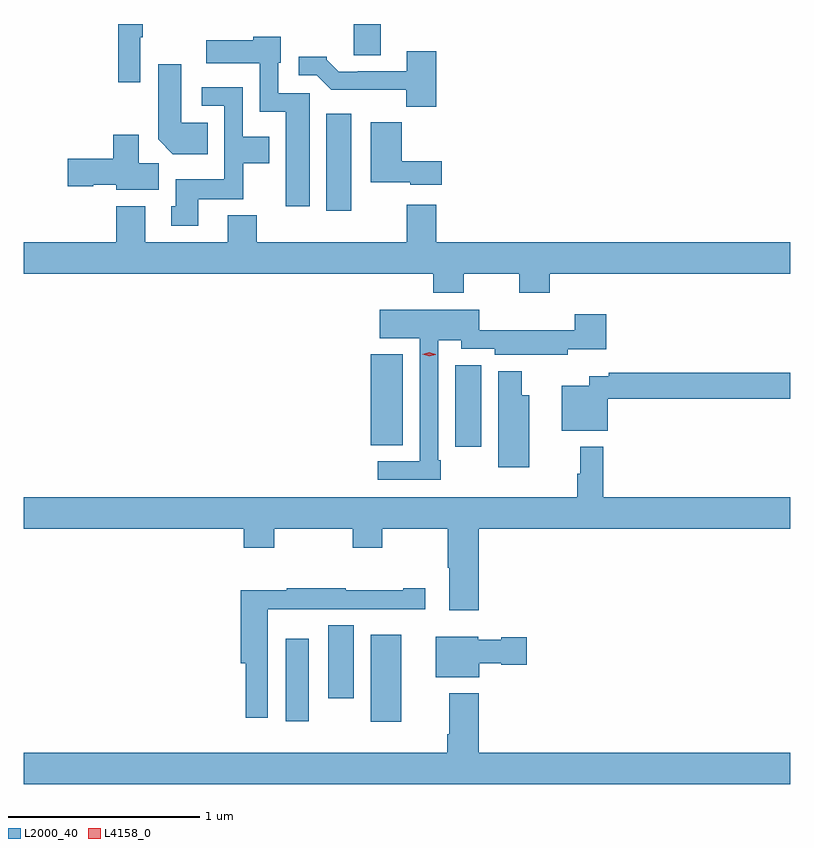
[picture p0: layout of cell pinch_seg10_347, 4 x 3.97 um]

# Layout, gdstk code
import gdstk
lib = gdstk.Library(unit=1e-6, precision=1e-09)
def R(c, l, rs):  # rectangles x0, y0, x1, y1
    for r in rs: c.add(gdstk.rectangle(r[:2], r[2:], *l))
def P(c, l, *ps):  # polygons
    for p in ps: c.add(gdstk.Polygon(p, *l))
L2000_40 = (2000, 40)
L4158_0 = (4158, 0)

pinch_seg10_347 = lib.new_cell('pinch_seg10_347')
R(pinch_seg10_347, L2000_40, [(480.602,1251.357,480.763,1251.811), (480.158,1251.36,480.28,1251.79), (480.38,1251.48,480.514,1251.86), (481.043,1252.794,481.18,1253.219), (480.602,1252.801,480.769,1253.275), (480.371,1254.024,480.502,1254.532), (480.515,1254.838,480.655,1255)])
P(pinch_seg10_347, L2000_40, [(479.4,1254.932),(479.413,1254.932),(479.413,1255),(479.284,1255),(479.284,1254.696),(479.4,1254.696)],
  [(480.283,1254.639),(480.12,1254.639),(480.12,1254.798),(480.133,1254.798),(480.133,1254.934),(479.988,1254.934),(479.988,1254.916),(479.745,1254.916),(479.745,1254.794),(480.024,1254.794),(480.024,1254.542),(480.158,1254.542),(480.158,1254.048),(480.283,1254.048)],
  [(480.944,1254.859),(480.791,1254.859),(480.791,1254.753),(480.535,1254.753),(480.535,1254.75),(480.436,1254.75),(480.372,1254.814),(480.372,1254.829),(480.228,1254.829),(480.228,1254.732),(480.321,1254.732),(480.397,1254.656),(480.789,1254.656),(480.789,1254.569),(480.944,1254.569)],
  [(479.753,1254.484),(479.614,1254.484),(479.614,1254.79),(479.492,1254.79),(479.492,1254.398),(479.57,1254.32),(479.753,1254.32)],
  [(479.701,1254.086),(479.937,1254.086),(479.937,1254.272),(480.073,1254.272),(480.073,1254.412),(479.934,1254.412),(479.934,1254.669),(479.721,1254.669),(479.721,1254.573),(479.838,1254.573),(479.838,1254.19),(479.585,1254.19),(479.585,1254.048),(479.561,1254.048),(479.561,1253.946),(479.701,1253.946)],
  [(480.973,1254.283),(480.764,1254.283),(480.764,1254.487),(480.602,1254.487),(480.602,1254.173),(480.81,1254.173),(480.81,1254.161),(480.973,1254.161)],
  [(479.497,1254.272),(479.392,1254.272),(479.392,1254.421),(479.258,1254.421),(479.258,1254.296),(479.022,1254.296),(479.022,1254.154),(479.154,1254.154),(479.154,1254.161),(479.274,1254.161),(479.274,1254.134),(479.497,1254.134)],
  [(481.089,1253.696),(481.378,1253.696),(481.378,1253.597),(481.538,1253.597),(481.538,1253.696),(482.792,1253.696),(482.792,1253.86),(480.944,1253.86),(480.944,1254.055),(480.791,1254.055),(480.791,1253.86),(480.008,1253.86),(480.008,1254.001),(479.855,1254.001),(479.855,1253.86),(479.425,1253.86),(479.425,1254.049),(479.273,1254.049),(479.273,1253.86),(478.792,1253.86),(478.792,1253.696),(480.929,1253.696),(480.929,1253.597),(481.089,1253.597)],
  [(480.967,1252.723),(480.954,1252.723),(480.954,1253.348),(481.074,1253.348),(481.074,1253.304),(481.25,1253.304),(481.25,1253.273),(481.63,1253.273),(481.63,1253.303),(481.832,1253.303),(481.832,1253.485),(481.667,1253.485),(481.667,1253.401),(481.17,1253.401),(481.17,1253.509),(480.651,1253.509),(480.651,1253.36),(480.858,1253.36),(480.858,1252.716),(480.639,1252.716),(480.639,1252.62),(480.967,1252.62)],
  [(481.429,1253.062),(481.39,1253.062),(481.39,1253.188),(481.268,1253.188),(481.268,1252.685),(481.429,1252.685)],
  [(481.839,1253.044),(482.792,1253.044),(482.792,1253.18),(481.846,1253.18),(481.846,1253.161),(481.743,1253.161),(481.743,1253.11),(481.601,1253.11),(481.601,1252.877),(481.839,1252.877)],
  [(478.792,1252.364),(479.939,1252.364),(479.939,1252.265),(480.099,1252.265),(480.099,1252.364),(480.508,1252.364),(480.508,1252.265),(480.663,1252.265),(480.663,1252.364),(481.006,1252.364),(481.006,1252.16),(481.013,1252.16),(481.013,1251.939),(481.166,1251.939),(481.166,1252.364),(482.792,1252.364),(482.792,1252.528),(481.817,1252.528),(481.817,1252.792),(481.696,1252.792),(481.696,1252.652),(481.681,1252.652),(481.681,1252.528),(478.792,1252.528)],
  [(480.066,1251.944),(480.276,1251.944),(480.276,1251.945),(480.61,1251.945),(480.61,1251.944),(480.886,1251.944),(480.886,1252.054),(480.773,1252.054),(480.773,1252.044),(480.473,1252.044),(480.473,1252.054),(480.163,1252.054),(480.163,1252.044),(479.924,1252.044),(479.924,1251.662),(479.95,1251.662),(479.95,1251.378),(480.066,1251.378)],
  [(481.168,1251.662),(481.284,1251.662),(481.284,1251.655),(481.417,1251.655),(481.417,1251.797),(481.284,1251.797),(481.284,1251.784),(481.164,1251.784),(481.164,1251.802),(480.941,1251.802),(480.941,1251.59),(481.168,1251.59)],
  [(482.792,1251.196),(481.166,1251.196),(481.166,1251.505),(481.013,1251.505),(481.013,1251.292),(481.001,1251.292),(481.001,1251.196),(478.792,1251.196),(478.792,1251.032),(482.792,1251.032)])
P(pinch_seg10_347, L4158_0, [(480.907,1253.265),(480.872,1253.275),(480.872,1253.276),(480.872,1253.276),(480.907,1253.285),(480.942,1253.275),(480.942,1253.275),(480.942,1253.274)])

lib.write_gds('pinch_seg10_347.gds')
